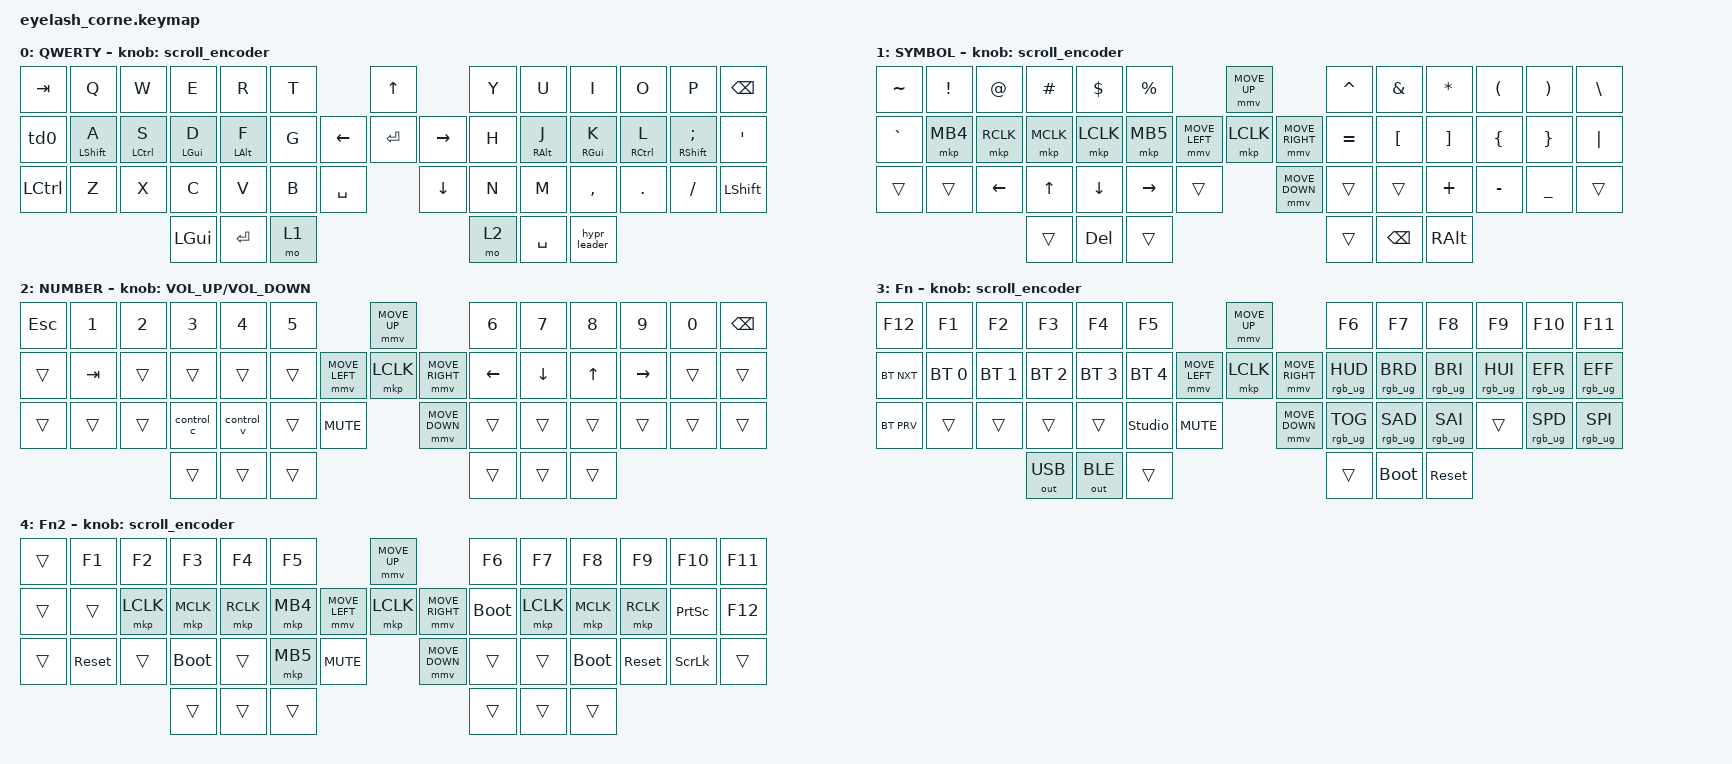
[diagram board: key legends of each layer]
#define ZMK_POINTING_DEFAULT_MOVE_VAL 900  // 600
#define ZMK_POINTING_DEFAULT_SCRL_VAL 100   // 10

#include <input/processors.dtsi>
#include <zephyr/dt-bindings/input/input-event-codes.h>
#include <behaviors.dtsi>
#include <dt-bindings/zmk/bt.h>
#include <dt-bindings/zmk/keys.h>
#include <dt-bindings/zmk/outputs.h>
#include <dt-bindings/zmk/pointing.h>
#include <dt-bindings/zmk/rgb.h>

#include "zmk-helpers/helper.h"

// Source desired key-position labels
#include "zmk-helpers/key-labels/eyelash42.h"

/*                42 KEY MATRIX with ENCODER and JOYSTICK / LAYOUT MAPPING

based on Aliexpress variation of Foostan corne
https://github.com/a741725193/zmk-new_corne/blob/main/README_EN.md

  ╭────────────────────────╮             ╭────╮      ╭─────────────────────────╮
  │  0   1   2   3   4   5 │         ╭───╯  6 ╰───╮  │   7   8   9  10  11  12 │
  │ 13  14  15  16  17  18 │ ╭────╮  │ 19  20  21 │  │  22  23  24  25  26  27 │
  │ 28  29  30  31  32  33 │ │ 34 │  ╰───╮ 35 ╭───╯  │  36  37  38  39  40  41 │
  ╰───────────╮ 42  43  44 │ ╰────╯      ╰────╯      │  45  46  47 ╭───────────╯
              ╰────────────╯                         ╰─────────────╯

  ╭──────────────────────────────╮              ╭─────╮      ╭──────────────────────────────╮
  │ LT5  LT4  LT3  LT2  LT1  LT0 │          ╭───╯ JS0 ╰───╮  │ RT0  RT1  RT2  RT3  RT4  RT5 │
  │ LM5  LM4  LM3  LM2  LM1  LM0 │ ╭─────╮  │ JS1 JS2 JS3 │  │ RM0  RM1  RM2  RM3  RM4  RM5 │
  │ LB5  LB4  LB3  LB2  LB1  LB0 │ │ LEC │  ╰───╮ JS4 ╭───╯  │ RB0  RB1  RB2  RB3  RB4  RB5 │
  ╰──────────────╮ LH2  LH1  LH0 │ ╰─────╯      ╰─────╯      │ RH0  RH1  RH2 ╭──────────────╯
                 ╰───────────────╯                           ╰───────────────╯

*/

ZMK_COMBO(escape, &kp ESC, LT4 LT3, 0)

ZMK_MACRO_ONE_PARAM(
  hypr_workspace,
  bindings
      = <&macro_press &kp LGUI>
      , <&macro_param_1to1>
      , <&macro_tap &kp MACRO_PLACEHOLDER>
      , <&macro_release &kp LGUI>
      ;
)

ZMK_MACRO_ONE_PARAM(
  hypr_move_to_workspace,
  bindings
      = <&macro_press &kp LGUI>
      , <&macro_press &kp LSHIFT>
      , <&macro_param_1to1>
      , <&macro_tap &kp MACRO_PLACEHOLDER>
      , <&macro_release &kp LSHIFT>
      , <&macro_release &kp LGUI>
      ;
)

ZMK_MACRO_ONE_PARAM(
  hypr_move_to_workspace_silent,
  bindings
      = <&macro_press &kp LGUI>
      , <&macro_press &kp LSHIFT>
      , <&macro_press &kp LCTRL>
      , <&macro_param_1to1>
      , <&macro_tap &kp MACRO_PLACEHOLDER>
      , <&macro_release &kp LCTRL>
      , <&macro_release &kp LSHIFT>
      , <&macro_release &kp LGUI>
      ;
)

&mt {
    flavor = "balanced";
};

&lt {
    flavor = "balanced";
};

&mmv_input_listener { input-processors = <&zip_xy_scaler 2 1>; };

&msc_input_listener { input-processors = <&zip_scroll_scaler 2 1>; };

&msc {
    acceleration-exponent = <1>;      // 0
    time-to-max-speed-ms = <100>;       // 300
    delay-ms = <0>;                   // 0
};

&mmv {
    time-to-max-speed-ms = <500>;
    acceleration-exponent = <1>;
    trigger-period-ms = <16>;
};

&soft_off { hold-time-ms = <2000>; };

/ {
    conditional_layers {
        compatible = "zmk,conditional-layers";
        tri_layer {
            if-layers = <1 2>;
            then-layer = <3>;
        };
    };

    macros {
        control_c: control_c {
            compatible = "zmk,behavior-macro";
            #binding-cells = <0>;
            bindings
                = <&macro_press &kp LCTRL>
                , <&macro_tap &kp C>
                , <&macro_release &kp LCTRL>
                ;
        };

        control_v: control_v {
            compatible = "zmk,behavior-macro";
            #binding-cells = <0>;
            bindings
                = <&macro_press &kp LCTRL>
                , <&macro_tap &kp V>
                , <&macro_release &kp LCTRL>
                ;
        };

        hypr_leader: hypr_leader {
            compatible = "zmk,behavior-macro";
            #binding-cells = <0>;
            bindings
                = <&macro_press &kp LGUI>
                , <&macro_tap &kp SPACE>
                , <&macro_release &kp LGUI>
                ;
        };
    };

    behaviors {
        td0: td0 {
            compatible = "zmk,behavior-tap-dance";
            display-name = "Shift/Caps Lock Tap Dance";
            #binding-cells = <0>;
            bindings = <&kp LEFT_SHIFT>, <&kp CAPS>;
        };

        leader1: leader1 {
            compatible = "zmk,behavior-leader-key";
            #binding-cells = <0>;

            hypr_w1 { sequence = <H A>; bindings = <&hypr_workspace N1>; };
            hypr_w2 { sequence = <H S>; bindings = <&hypr_workspace N2>; };
            hypr_w3 { sequence = <H D>; bindings = <&hypr_workspace N3>; };
            hypr_w4 { sequence = <H F>; bindings = <&hypr_workspace N4>; };
            hypr_w5 { sequence = <H G>; bindings = <&hypr_workspace N5>; };
            hypr_w6 { sequence = <H H>; bindings = <&hypr_workspace N6>; };
            hypr_w7 { sequence = <H J>; bindings = <&hypr_workspace N7>; };
            hypr_w8 { sequence = <H K>; bindings = <&hypr_workspace N8>; };
            hypr_w9 { sequence = <H L>; bindings = <&hypr_workspace N9>; };
            hypr_w10 { sequence = <H SEMI>; bindings = <&hypr_workspace N0>; };

            hypr_move_to_w1 { sequence = <H Q>; bindings = <&hypr_move_to_workspace N1>; };
            hypr_move_to_w2 { sequence = <H W>; bindings = <&hypr_move_to_workspace N2>; };
            hypr_move_to_w3 { sequence = <H E>; bindings = <&hypr_move_to_workspace N3>; };
            hypr_move_to_w4 { sequence = <H R>; bindings = <&hypr_move_to_workspace N4>; };
            hypr_move_to_w5 { sequence = <H T>; bindings = <&hypr_move_to_workspace N5>; };
            hypr_move_to_w6 { sequence = <H Y>; bindings = <&hypr_move_to_workspace N6>; };
            hypr_move_to_w7 { sequence = <H U>; bindings = <&hypr_move_to_workspace N7>; };
            hypr_move_to_w8 { sequence = <H I>; bindings = <&hypr_move_to_workspace N8>; };
            hypr_move_to_w9 { sequence = <H O>; bindings = <&hypr_move_to_workspace N9>; };
            hypr_move_to_w10 { sequence = <H P>; bindings = <&hypr_move_to_workspace N0>; };
        };
    };

    rgb_encoder: rgb_encoder {
        compatible = "zmk,behavior-sensor-rotate";
        #sensor-binding-cells = <0>;
        bindings = <&rgb_ug RGB_BRI>, <&rgb_ug RGB_BRD>;
    };

    scroll_encoder: scroll_encoder {
        compatible = "zmk,behavior-sensor-rotate";
        #sensor-binding-cells = <0>;
        bindings = <&msc SCRL_DOWN>, <&msc SCRL_UP>;

        tap-ms = <100>;
    };

    combos {
        compatible = "zmk,combos";

        softoff {
            bindings = <&soft_off>;
            key-positions = <1 15 29>;
        };

        //hyprleader {
        //    bindings = <&kp LGUI(SPACE)>;
        //    key-positions = <28 41>;
        //};
    };

    keymap {
        compatible = "zmk,keymap";

        default_layer {
            display-name = "QWERTY";
            bindings = <
          // ╭─────────────┬─────────────┬─────────────┬─────────────┬─────────────┬─────────────╮                                      ╭──────────────╮                  ╭─────────────┬─────────────┬─────────────┬─────────────┬───────────────┬─────────────╮
              &kp TAB       &kp Q         &kp W         &kp E         &kp R         &kp T                                                &kp UP                            &kp Y         &kp U         &kp I         &kp O         &kp P           &kp BSPC
          // ├─────────────├─────────────┼─────────────┼─────────────┼─────────────┼─────────────┤                       ╭──────────────├──────────────├───────────────╮  ├─────────────├─────────────┼─────────────┼─────────────┼───────────────┼─────────────┤
              &td0          &mt LSHIFT A  &mt LCTRL S   &mt LGUI D    &mt LALT F    &kp G                                 &kp LEFT       &kp ENTER      &kp RIGHT          &kp H         &mt RALT J    &mt RGUI K    &mt RCTRL L   &mt RSHIFT SEMI &kp SQT
          // ├─────────────├─────────────┼─────────────┼─────────────┼─────────────┼─────────────┤  ╭─────────────╮      ╰──────────────├──────────────├───────────────╯  ├─────────────├─────────────┼─────────────┼─────────────┼───────────────┼─────────────┤
              &kp LCTRL     &kp Z         &kp X         &kp C         &kp V         &kp B            &kp SPACE                           &kp DOWN                          &kp N         &kp M         &kp COMMA     &kp DOT       &kp FSLH        &kp LSHIFT
          // ╰─────────────┴─────────────┴─────────────┼─────────────┼─────────────┤─────────────┤  ╰─────────────╯                     ╰──────────────╯                  ├─────────────┤─────────────┼─────────────┼─────────────┴───────────────┴─────────────╯
                                                        &kp LGUI      &kp ENTER     &mo 1                                                                                  &mo 2         &kp SPACE     &hypr_leader
          //                                           ╰─────────────┴─────────────┴─────────────╯                                                                        ╰─────────────┴─────────────┴─────────────╯
            >;

            sensor-bindings = <&scroll_encoder>;
        };

        lower_layer {
            display-name = "SYMBOL";
            bindings = <
          // ╭─────────────┬─────────────┬─────────────┬─────────────┬─────────────┬─────────────╮                                      ╭──────────────╮                  ╭─────────────┬─────────────┬─────────────┬─────────────┬─────────────┬─────────────╮
              &kp TILDE     &kp EXCL      &kp AT        &kp HASH      &kp DLLR      &kp PRCNT                                            &mmv MOVE_UP                      &kp CARET     &kp AMPS      &kp ASTRK     &kp LPAR      &kp RPAR      &kp BSLH 
          // ├─────────────├─────────────┼─────────────┼─────────────┼─────────────┼─────────────┤                       ╭──────────────├──────────────├───────────────╮  ├─────────────├─────────────┼─────────────┼─────────────┼─────────────┼─────────────┤
              &kp GRAVE     &mkp MB4      &mkp RCLK     &mkp MCLK     &mkp LCLK     &mkp MB5                              &mmv MOVE_LEFT &mkp LCLK      &mmv MOVE_RIGHT    &kp EQUAL     &kp LBKT      &kp RBKT      &kp LBRC      &kp RBRC      &kp PIPE 
          // ├─────────────├─────────────┼─────────────┼─────────────┼─────────────┼─────────────┤  ╭─────────────╮      ╰──────────────├──────────────├───────────────╯  ├─────────────├─────────────┼─────────────┼─────────────┼─────────────┼─────────────┤
              &trans        &trans        &kp LEFT      &kp UP        &kp DOWN      &kp RIGHT        &trans                              &mmv MOVE_DOWN                    &trans        &trans        &kp PLUS      &kp MINUS     &kp UNDER     &trans
          // ╰─────────────┴─────────────┴─────────────┼─────────────┼─────────────┤─────────────┤  ╰─────────────╯                     ╰──────────────╯                  ├─────────────┤─────────────┼─────────────┼─────────────┴─────────────┴─────────────╯
                                                        &trans        &kp DEL       &trans                                                                                 &trans        &kp BSPC      &kp RALT 
          //                                           ╰─────────────┴─────────────┴─────────────╯                                                                        ╰─────────────┴─────────────┴─────────────╯
            >;

            sensor-bindings = <&scroll_encoder>;
        };

        raise_layer {
            display-name = "NUMBER";
            bindings = <
          // ╭─────────────┬─────────────┬─────────────┬─────────────┬─────────────┬─────────────╮                                      ╭──────────────╮                  ╭─────────────┬─────────────┬─────────────┬─────────────┬─────────────┬─────────────╮
              &kp ESC       &kp N1        &kp N2        &kp N3        &kp N4        &kp N5                                               &mmv MOVE_UP                      &kp N6        &kp N7        &kp N8        &kp N9        &kp N0        &kp BSPC
          // ├─────────────├─────────────┼─────────────┼─────────────┼─────────────┼─────────────┤                       ╭──────────────├──────────────├───────────────╮  ├─────────────├─────────────┼─────────────┼─────────────┼─────────────┼─────────────┤
              &trans        &kp TAB       &trans        &trans        &trans        &trans                                &mmv MOVE_LEFT &mkp LCLK      &mmv MOVE_RIGHT    &kp LEFT      &kp DOWN      &kp UP        &kp RIGHT     &trans        &trans 
          // ├─────────────├─────────────┼─────────────┼─────────────┼─────────────┼─────────────┤  ╭─────────────╮      ╰──────────────├──────────────├───────────────╯  ├─────────────├─────────────┼─────────────┼─────────────┼─────────────┼─────────────┤
              &trans        &trans        &trans        &control_c    &control_v    &trans           &kp C_MUTE                          &mmv MOVE_DOWN                    &trans        &trans        &trans        &trans        &trans        &trans 
          // ╰─────────────┴─────────────┴─────────────┼─────────────┼─────────────┤─────────────┤  ╰─────────────╯                     ╰──────────────╯                  ├─────────────┤─────────────┼─────────────┼─────────────┴─────────────┴─────────────╯
                                                        &trans        &trans        &trans                                                                                 &trans        &trans        &trans
          //                                           ╰─────────────┴─────────────┴─────────────╯                                                                        ╰─────────────┴─────────────┴─────────────╯
            >;

            sensor-bindings = <&inc_dec_kp C_VOLUME_UP C_VOLUME_DOWN>;
        };

        layer_3 {
            display-name = "Fn";
            bindings = <
          // ╭─────────────┬─────────────┬─────────────┬─────────────┬─────────────┬──────────────╮                                      ╭──────────────╮                  ╭───────────────┬───────────────┬───────────────┬───────────────┬─────────────────┬───────────────╮
              &kp F12       &kp F1        &kp F2        &kp F3        &kp F4        &kp F5                                                &mmv MOVE_UP                      &kp F6          &kp F7          &kp F8          &kp F9          &kp F10           &kp F11
          // ├─────────────├─────────────┼─────────────┼─────────────┼─────────────┼──────────────┤                       ╭──────────────├──────────────├───────────────╮  ├───────────────├───────────────┼───────────────┼───────────────┼─────────────────┼───────────────┤
              &bt BT_NXT    &bt BT_SEL 0  &bt BT_SEL 1  &bt BT_SEL 2  &bt BT_SEL 3  &bt BT_SEL 4                           &mmv MOVE_LEFT &mkp LCLK      &mmv MOVE_RIGHT    &rgb_ug RGB_HUD &rgb_ug RGB_BRD &rgb_ug RGB_BRI &rgb_ug RGB_HUI &rgb_ug RGB_EFR   &rgb_ug RGB_EFF  
          // ├─────────────├─────────────┼─────────────┼─────────────┼─────────────┼──────────────┤  ╭─────────────╮      ╰──────────────├──────────────├───────────────╯  ├───────────────├───────────────┼───────────────┼───────────────┼─────────────────┼───────────────┤
              &bt BT_PRV    &trans        &trans        &trans        &trans        &studio_unlock    &kp C_MUTE                          &mmv MOVE_DOWN                    &rgb_ug RGB_TOG &rgb_ug RGB_SAD &rgb_ug RGB_SAI &trans          &rgb_ug RGB_SPD   &rgb_ug RGB_SPI 
          // ╰─────────────┴─────────────┴─────────────┼─────────────┼─────────────┤──────────────┤  ╰─────────────╯                     ╰──────────────╯                  ├───────────────┤───────────────┼───────────────┼───────────────┴─────────────────┴───────────────╯
                                                        &out OUT_USB  &out OUT_BLE  &trans                                                                                  &trans          &bootloader     &sys_reset
          //                                           ╰─────────────┴─────────────┴──────────────╯                                                                        ╰───────────────┴───────────────┴───────────────╯
            >;

            sensor-bindings = <&scroll_encoder>;
        };

        layer_4 {
            display-name = "Fn2";
            bindings = <
          // ╭─────────────┬─────────────┬─────────────┬─────────────┬─────────────┬─────────────╮                                      ╭──────────────╮                  ╭─────────────┬─────────────┬─────────────┬─────────────┬───────────────┬─────────────╮
              &trans        &kp F1        &kp F2        &kp F3        &kp F4        &kp F5                                               &mmv MOVE_UP                      &kp F6        &kp F7        &kp F8        &kp F9        &kp F10         &kp F11
          // ├─────────────├─────────────┼─────────────┼─────────────┼─────────────┼─────────────┤                       ╭──────────────├──────────────├───────────────╮  ├─────────────├─────────────┼─────────────┼─────────────┼───────────────┼─────────────┤
              &trans        &trans        &mkp LCLK     &mkp MCLK     &mkp RCLK     &mkp MB4                              &mmv MOVE_LEFT &mkp LCLK      &mmv MOVE_RIGHT    &bootloader   &mkp LCLK     &mkp MCLK     &mkp RCLK     &kp PRINTSCREEN &kp F12
          // ├─────────────├─────────────┼─────────────┼─────────────┼─────────────┼─────────────┤  ╭─────────────╮      ╰──────────────├──────────────├───────────────╯  ├─────────────├─────────────┼─────────────┼─────────────┼───────────────┼─────────────┤
              &trans        &sys_reset    &trans        &bootloader   &trans        &mkp MB5         &kp C_MUTE                          &mmv MOVE_DOWN                    &trans        &trans        &bootloader   &sys_reset    &kp SCROLLLOCK  &trans 
          // ╰─────────────┴─────────────┴─────────────┼─────────────┼─────────────┤─────────────┤  ╰─────────────╯                     ╰──────────────╯                  ├─────────────┤─────────────┼─────────────┼─────────────┴───────────────┴─────────────╯
                                                        &trans        &trans        &trans                                                                                 &trans        &trans        &trans
          //                                           ╰─────────────┴─────────────┴─────────────╯                                                                        ╰─────────────┴─────────────┴─────────────╯
            >;

            sensor-bindings = <&scroll_encoder>;
        };
    };
};
